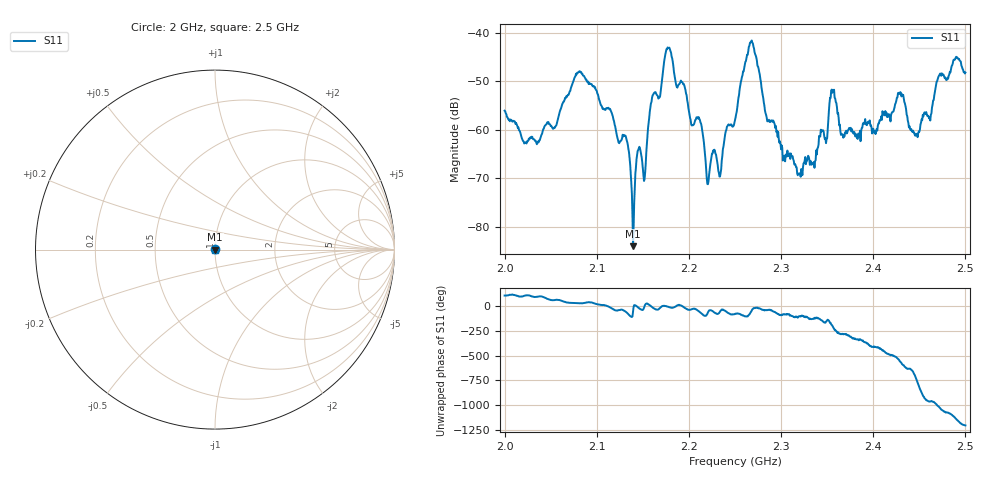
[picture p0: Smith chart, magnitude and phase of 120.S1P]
! C:\Users\rflab\Downloads\dp2_kdzw\120.S1P
! Touchstone 1.1 file saved by VNA.EXE V1.65 (www.ke5fx.com/gpib/readme.htm)
! 12/12/2024 7:01:30 PM
!  Source: HEWLETT PACKARD,8753D,0,6.14
!  Min freq: 2.000000E+009 Hz
!  Max freq: 2.500000E+009 Hz
!  Points: 801
!  Params: S21
# GHZ S MA R 50
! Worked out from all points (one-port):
!   801 points, 2 GHz to 2.5 GHz, reference 50 ohm
!   lowest |S11| = -84.0 dB at 2.139 GHz (marker M1), VSWR 1.00, Z = 50 - j0.00549 ohm
!   |S11| at or under -10 dB: start of sweep to end of sweep
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2  0.001569 102.9
2.035625  0.000734 90.5
2.0625  0.001825 47.9
2.0825  0.003901 25.2
2.125  0.000756 -41.6
2.1325  0.000775 -67.6
2.139375  6.3e-05 -60.6
2.145  0.000619 -18.8
2.151875  0.000309 -3.2
2.159375  0.001935 -7.7
2.17625  0.006736 -7.5
2.1875  0.002715 3.8
2.211875  0.001265 -64.8
2.220625  0.000274 -66.0
2.25  0.001242 -80.2
2.268125  0.00831 -48.8
2.285  0.001221 -43.9
2.3125  0.000533 -105.3
2.335  0.000455 -130.4
2.355625  0.002401 159.9
2.36625  0.000897 79.2
2.375  0.001028 49.3
2.401875  0.000961 -51.3
2.429375  0.002437 158.6
2.4375  0.001239 86.1
2.4475  0.000909 -35.8
2.4725  0.003778 53.3
2.5  0.003882 -121.7
